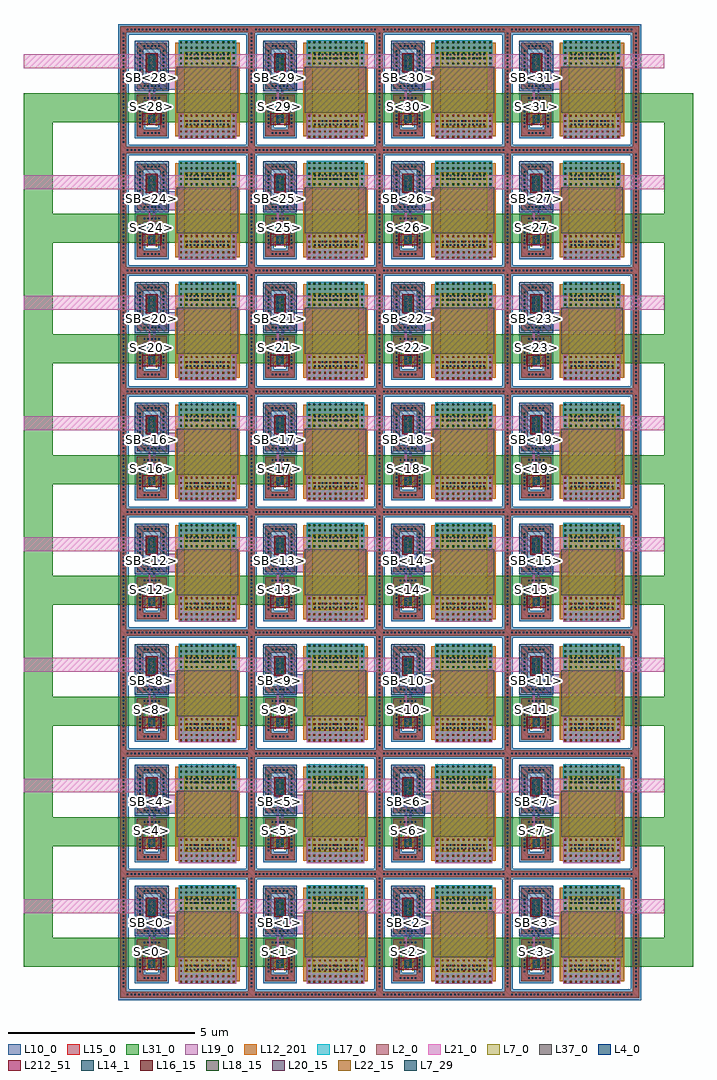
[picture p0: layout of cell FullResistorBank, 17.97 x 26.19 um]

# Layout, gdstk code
import gdstk
lib = gdstk.Library(unit=1e-6, precision=1e-09)
def R(c, l, rs):  # rectangles x0, y0, x1, y1
    for r in rs: c.add(gdstk.rectangle(r[:2], r[2:], *l))
def A(c, l, x, y, w, h, nx, ny, dx, dy):  # array of equal rectangles
    R(c, l, [(x+i*dx, y+j*dy, x+i*dx+w, y+j*dy+h) for i in range(nx) for j in range(ny)])
L2_0 = (2, 0)
L4_0 = (4, 0)
L7_0 = (7, 0)
L7_29 = (7, 29)
L10_0 = (10, 0)
L12_201 = (12, 201)
L14_1 = (14, 1)
L15_0 = (15, 0)
L16_15 = (16, 15)
L17_0 = (17, 0)
L18_15 = (18, 15)
L19_0 = (19, 0)
L20_15 = (20, 15)
L21_0 = (21, 0)
L22_15 = (22, 15)
L31_0 = (31, 0)
L37_0 = (37, 0)
L212_51 = (212, 51)

nmossubringinresistorban = lib.new_cell('NMOSSubringInResistorBank')
R(nmossubringinresistorban, L2_0, [(-0.398,-0.559,-0.228,0.559), (-0.398,-0.559,0.398,-0.389), (0.228,-0.559,0.398,0.559), (-0.398,0.389,0.398,0.559)])
A(nmossubringinresistorban, L14_1, -0.22, -0.494, 0.04, 0.04, 5, 2, 0.1, 0.948)
A(nmossubringinresistorban, L14_1, -0.333, -0.32, 0.04, 0.04, 1, 7, 0, 0.1)
A(nmossubringinresistorban, L14_1, 0.293, -0.32, 0.04, 0.04, 1, 7, 0, 0.1)
R(nmossubringinresistorban, L15_0, [(-0.398,-0.559,0.398,-0.389), (-0.398,-0.559,-0.228,0.559), (0.228,-0.559,0.398,0.559), (-0.398,0.389,0.398,0.559)])
nmossubringinresistorban.add(gdstk.FlexPath([(0.313,0.615),(0.313,-0.474),(-0.313,-0.474),(-0.313,0.474),(0.454,0.474)], 0.282, ends="flush", simple_path=True, layer=10, datatype=0))  # L10_0

pmossubringinresistorban = lib.new_cell('PMOSSubringInResistorBank')
R(pmossubringinresistorban, L2_0, [(-0.398,-0.624,-0.228,0.624), (-0.398,-0.624,0.398,-0.454), (0.228,-0.624,0.398,0.624), (-0.398,0.454,0.398,0.624)])
A(pmossubringinresistorban, L14_1, -0.22, -0.559, 0.04, 0.04, 5, 2, 0.1, 1.078)
A(pmossubringinresistorban, L14_1, -0.333, -0.42, 0.04, 0.04, 1, 9, 0, 0.1)
A(pmossubringinresistorban, L14_1, 0.293, -0.42, 0.04, 0.04, 1, 9, 0, 0.1)
R(pmossubringinresistorban, L15_0, [(-0.398,-0.624,0.398,-0.454), (-0.398,-0.624,-0.228,0.624), (0.228,-0.624,0.398,0.624), (-0.398,0.454,0.398,0.624)])
pmossubringinresistorban.add(gdstk.FlexPath([(0.313,0.68),(0.313,-0.539),(-0.313,-0.539),(-0.313,0.539),(0.454,0.539)], 0.282, ends="flush", simple_path=True, layer=4, datatype=0))  # L4_0

totalsubringinresistorba = lib.new_cell('TotalSubringInResistorBank')
R(totalsubringinresistorba, L2_0, [(-1.804,-1.704,-1.634,1.704), (-1.804,-1.704,1.804,-1.534), (1.634,-1.704,1.804,1.704), (-1.804,1.534,1.804,1.704)])
A(totalsubringinresistorba, L14_1, -1.62, -1.639, 0.04, 0.04, 33, 2, 0.1, 3.238)
A(totalsubringinresistorba, L14_1, -1.739, -1.42, 0.04, 0.04, 1, 30, 0, 0.1)
A(totalsubringinresistorba, L14_1, 1.699, -1.42, 0.04, 0.04, 1, 30, 0, 0.1)
R(totalsubringinresistorba, L15_0, [(-1.804,-1.704,1.804,-1.534), (-1.804,-1.704,-1.634,1.704), (1.634,-1.704,1.804,1.704), (-1.804,1.534,1.804,1.704)])
totalsubringinresistorba.add(gdstk.FlexPath([(1.719,1.76),(1.719,-1.619),(-1.719,-1.619),(-1.719,1.619),(1.86,1.619)], 0.282, ends="flush", simple_path=True, layer=10, datatype=0))  # L10_0

viamet12met2onnmosoutput = lib.new_cell('ViaMet12Met2OnNMOSOutputInTransmissionGate')
R(viamet12met2onnmosoutput, L15_0, [(-0.025,-0.122,0.025,0.122)])
R(viamet12met2onnmosoutput, L16_15, [(-0.025,-0.09,0.025,-0.04), (-0.025,0.04,0.025,0.09)])
R(viamet12met2onnmosoutput, L17_0, [(-0.025,-0.122,0.025,0.122)])

viamet32met4onpmosoutput = lib.new_cell('ViaMet32Met4OnPMOSOutputInTransmissionGate')
R(viamet32met4onpmosoutput, L19_0, [(-0.025,-0.187,0.025,0.187)])
A(viamet32met4onpmosoutput, L20_15, -0.025, -0.155, 0.05, 0.05, 1, 3, 0, 0.13)
R(viamet32met4onpmosoutput, L21_0, [(-0.025,-0.187,0.025,0.187)])

viamet32met4onnmosoutput = lib.new_cell('ViaMet32Met4OnNMOSOutputInTransmissionGate')
R(viamet32met4onnmosoutput, L19_0, [(-0.025,-0.122,0.025,0.122)])
R(viamet32met4onnmosoutput, L20_15, [(-0.025,-0.09,0.025,-0.04), (-0.025,0.04,0.025,0.09)])
R(viamet32met4onnmosoutput, L21_0, [(-0.025,-0.122,0.025,0.122)])

pmosintransmissiongate = lib.new_cell('PMOSInTransmissionGate')
R(pmosintransmissiongate, L2_0, [(-0.091,-0.2,0.091,0.2)])
A(pmosintransmissiongate, L7_0, -0.141, -0.256, 0.03, 0.512, 3, 1, 0.126, 0)
R(pmosintransmissiongate, L7_29, [(-0.096,-0.205,0.096,0.205)])
R(pmosintransmissiongate, L10_0, [(-0.151,-0.256,0.151,0.256)])
A(pmosintransmissiongate, L14_1, -0.083, -0.17, 0.04, 0.04, 1, 4, 0, 0.1)
A(pmosintransmissiongate, L14_1, 0.043, -0.17, 0.04, 0.04, 1, 4, 0, 0.1)
R(pmosintransmissiongate, L15_0, [(-0.088,-0.2,-0.038,0.2), (0.038,-0.2,0.088,0.2)])
R(pmosintransmissiongate, L212_51, [(-0.147,-0.256,0.147,0.256)])

viamet22met3onnmosoutput = lib.new_cell('ViaMet22Met3OnNMOSOutputInTransmissionGate')
R(viamet22met3onnmosoutput, L17_0, [(-0.025,-0.122,0.025,0.122)])
R(viamet22met3onnmosoutput, L18_15, [(-0.025,-0.09,0.025,-0.04), (-0.025,0.04,0.025,0.09)])
R(viamet22met3onnmosoutput, L19_0, [(-0.025,-0.122,0.025,0.122)])

viapoly2met1onnmoscontro = lib.new_cell('ViaPoly2Met1OnNMOSControlInTransmissionGate')
R(viapoly2met1onnmoscontro, L7_0, [(-0.08,-0.03,0.08,0.03)])
R(viapoly2met1onnmoscontro, L14_1, [(-0.07,-0.02,-0.03,0.02), (0.03,-0.02,0.07,0.02)])
R(viapoly2met1onnmoscontro, L15_0, [(-0.091,-0.041,0.091,0.041)])

viamet12met2onnmoscontro = lib.new_cell('ViaMet12Met2OnNMOSControlInTransmissionGate')
R(viamet12met2onnmoscontro, L15_0, [(-0.122,-0.025,0.122,0.025)])
R(viamet12met2onnmoscontro, L16_15, [(-0.09,-0.025,-0.04,0.025), (0.04,-0.025,0.09,0.025)])
R(viamet12met2onnmoscontro, L17_0, [(-0.122,-0.025,0.122,0.025)])

viamet12met2onpmosoutput = lib.new_cell('ViaMet12Met2OnPMOSOutputInTransmissionGate')
R(viamet12met2onpmosoutput, L15_0, [(-0.025,-0.187,0.025,0.187)])
A(viamet12met2onpmosoutput, L16_15, -0.025, -0.155, 0.05, 0.05, 1, 3, 0, 0.13)
R(viamet12met2onpmosoutput, L17_0, [(-0.025,-0.187,0.025,0.187)])

viamet12met2onpmoscontro = lib.new_cell('ViaMet12Met2OnPMOSControlInTransmissionGate')
R(viamet12met2onpmoscontro, L15_0, [(-0.122,-0.025,0.122,0.025)])
R(viamet12met2onpmoscontro, L16_15, [(-0.09,-0.025,-0.04,0.025), (0.04,-0.025,0.09,0.025)])
R(viamet12met2onpmoscontro, L17_0, [(-0.122,-0.025,0.122,0.025)])

viapoly2met1onpmoscontro = lib.new_cell('ViaPoly2Met1OnPMOSControlInTransmissionGate')
R(viapoly2met1onpmoscontro, L7_0, [(-0.08,-0.03,0.08,0.03)])
R(viapoly2met1onpmoscontro, L14_1, [(-0.07,-0.02,-0.03,0.02), (0.03,-0.02,0.07,0.02)])
R(viapoly2met1onpmoscontro, L15_0, [(-0.091,-0.041,0.091,0.041)])

viamet22met3onpmosoutput = lib.new_cell('ViaMet22Met3OnPMOSOutputInTransmissionGate')
R(viamet22met3onpmosoutput, L17_0, [(-0.025,-0.187,0.025,0.187)])
A(viamet22met3onpmosoutput, L18_15, -0.025, -0.155, 0.05, 0.05, 1, 3, 0, 0.13)
R(viamet22met3onpmosoutput, L19_0, [(-0.025,-0.187,0.025,0.187)])

nmosintransmissiongate = lib.new_cell('NMOSInTransmissionGate')
R(nmosintransmissiongate, L2_0, [(-0.091,-0.1,0.091,0.1)])
R(nmosintransmissiongate, L7_0, [(-0.141,-0.184,-0.111,0.184), (0.111,-0.184,0.141,0.184), (-0.015,-0.156,0.015,0.156)])
R(nmosintransmissiongate, L7_29, [(-0.096,-0.105,0.096,0.105)])
R(nmosintransmissiongate, L14_1, [(-0.083,-0.07,-0.043,-0.03), (0.043,-0.07,0.083,-0.03), (-0.083,0.03,-0.043,0.07), (0.043,0.03,0.083,0.07)])
R(nmosintransmissiongate, L15_0, [(-0.088,-0.1,-0.038,0.1), (0.038,-0.1,0.088,0.1)])
R(nmosintransmissiongate, L212_51, [(-0.147,-0.156,0.147,0.156)])

transmissiongateinresist = lib.new_cell('TransmissionGateInResistorBank')
transmissiongateinresist.add(gdstk.FlexPath([(0.038,0.558),(0.088,0.558)], 0.05, ends="flush", simple_path=True, layer=19, datatype=0))  # L19_0
transmissiongateinresist.add(gdstk.FlexPath([(0,0.379),(0,0.744)], 0.03, ends="flush", simple_path=True, layer=7, datatype=0))  # L7_0
transmissiongateinresist.add(gdstk.FlexPath([(-0.063,1.892),(-0.063,0.379)], 0.05, ends="flush", simple_path=True, layer=21, datatype=0))  # L21_0
transmissiongateinresist.add(gdstk.FlexPath([(-0.122,1.492),(0.122,1.492)], 0.082, ends="flush", simple_path=True, layer=15, datatype=0))  # L15_0
transmissiongateinresist.add(gdstk.FlexPath([(0.063,1.892),(0.063,0.379)], 0.05, ends="flush", simple_path=True, layer=19, datatype=0))  # L19_0
transmissiongateinresist.add(gdstk.FlexPath([(-0.122,0.714),(0.122,0.714)], 0.082, ends="flush", simple_path=True, layer=15, datatype=0))  # L15_0
transmissiongateinresist.add(gdstk.FlexPath([(0,1.892),(0,1.462)], 0.03, ends="flush", simple_path=True, layer=7, datatype=0))  # L7_0
transmissiongateinresist.add(gdstk.FlexPath([(0.038,1.648),(0.088,1.648)], 0.05, ends="flush", simple_path=True, layer=19, datatype=0))  # L19_0
transmissiongateinresist.add(gdstk.Reference(viamet12met2onnmosoutput, (0.063,0.411)))
transmissiongateinresist.add(gdstk.Reference(viamet12met2onnmosoutput, (-0.063,0.347)))
transmissiongateinresist.add(gdstk.Reference(viamet32met4onpmosoutput, (-0.063,1.924)))
transmissiongateinresist.add(gdstk.Reference(viamet32met4onnmosoutput, (-0.063,0.347)))
transmissiongateinresist.add(gdstk.Reference(pmosintransmissiongate, (0,1.892)))
transmissiongateinresist.add(gdstk.Reference(viamet22met3onnmosoutput, (0.063,0.411)))
transmissiongateinresist.add(gdstk.Reference(viamet22met3onnmosoutput, (-0.063,0.347)))
transmissiongateinresist.add(gdstk.Reference(viapoly2met1onnmoscontro, (0,0.714)))
transmissiongateinresist.add(gdstk.Reference(viamet12met2onnmoscontro, (0,0.714)))
transmissiongateinresist.add(gdstk.Reference(viamet12met2onpmosoutput, (0.063,1.86)))
transmissiongateinresist.add(gdstk.Reference(viamet12met2onpmosoutput, (-0.063,1.924)))
transmissiongateinresist.add(gdstk.Reference(viamet12met2onpmoscontro, (0,1.492)))
transmissiongateinresist.add(gdstk.Reference(viapoly2met1onpmoscontro, (0,1.492)))
transmissiongateinresist.add(gdstk.Reference(viamet22met3onpmosoutput, (0.063,1.86)))
transmissiongateinresist.add(gdstk.Reference(viamet22met3onpmosoutput, (-0.063,1.924)))
transmissiongateinresist.add(gdstk.Reference(nmosintransmissiongate, (0,0.379)))

opppcresinresistorbank = lib.new_cell('OpppcresInResistorBank')
R(opppcresinresistorbank, L7_0, [(-0.625,-1.017,0.625,1.017)])
R(opppcresinresistorbank, L10_0, [(-0.865,-1.257,0.865,1.257)])
R(opppcresinresistorbank, L12_201, [(-0.865,-1.257,0.865,1.257)])
A(opppcresinresistorbank, L14_1, -0.57, -0.957, 0.04, 0.04, 12, 2, 0.1, 0.1)
A(opppcresinresistorbank, L14_1, -0.57, 0.817, 0.04, 0.04, 12, 2, 0.1, 0.1)
R(opppcresinresistorbank, L15_0, [(-0.582,-0.969,0.582,-0.805), (-0.582,0.805,0.582,0.969)])
R(opppcresinresistorbank, L37_0, [(-0.825,-0.617,0.825,0.617)])

viamet12met2onresistorin = lib.new_cell('ViaMet12Met2OnResistorInResistorBank')
R(viamet12met2onresistorin, L15_0, [(-0.767,-0.341,0.767,0.341)])
A(viamet12met2onresistorin, L16_15, -0.735, -0.309, 0.05, 0.05, 11, 5, 0.142, 0.142)
R(viamet12met2onresistorin, L17_0, [(-0.767,-0.341,0.767,0.341)])

viamet32met4onresistorin = lib.new_cell('ViaMet32Met4OnResistorInResistorBank')
R(viamet32met4onresistorin, L19_0, [(-0.767,-0.341,0.767,0.341)])
A(viamet32met4onresistorin, L20_15, -0.735, -0.309, 0.05, 0.05, 11, 5, 0.142, 0.142)
R(viamet32met4onresistorin, L21_0, [(-0.767,-0.341,0.767,0.341)])

viamet42met5onresistorin = lib.new_cell('ViaMet42Met5OnResistorInResistorBank')
R(viamet42met5onresistorin, L21_0, [(-0.767,-0.341,0.767,0.341)])
A(viamet42met5onresistorin, L22_15, -0.735, -0.309, 0.05, 0.05, 11, 5, 0.142, 0.142)
R(viamet42met5onresistorin, L31_0, [(-0.767,-0.341,0.767,0.341)])

viamet22met3onresistorin = lib.new_cell('ViaMet22Met3OnResistorInResistorBank')
R(viamet22met3onresistorin, L17_0, [(-0.767,-0.341,0.767,0.341)])
A(viamet22met3onresistorin, L18_15, -0.735, -0.309, 0.05, 0.05, 11, 5, 0.142, 0.142)
R(viamet22met3onresistorin, L19_0, [(-0.767,-0.341,0.767,0.341)])

resistorbankinfullresist = lib.new_cell('ResistorBankInFullResistorBank')
resistorbankinfullresist.add(gdstk.FlexPath([(1.493,0.184),(1.493,0.684)], 1.534, ends="flush", simple_path=True, layer=31, datatype=0))  # L31_0
resistorbankinfullresist.add(gdstk.FlexPath([(1.493,2.15),(1.493,1.419)], 1.534, ends="flush", simple_path=True, layer=19, datatype=0))  # L19_0
resistorbankinfullresist.add(gdstk.FlexPath([(-0.258,0.379),(0.258,0.379)], 0.312, ends="flush", simple_path=True, layer=212, datatype=51))  # L212_51
resistorbankinfullresist.add(gdstk.FlexPath([(-0.228,1.797),(0.228,1.797)], 0.908, ends="flush", simple_path=True, layer=4, datatype=0))  # L4_0
resistorbankinfullresist.add(gdstk.FlexPath([(1.493,2.15),(1.493,1.972)], 1.534, ends="flush", simple_path=True, layer=15, datatype=0))  # L15_0
resistorbankinfullresist.add(gdstk.FlexPath([(1.493,0.184),(1.493,0.362)], 1.534, ends="flush", simple_path=True, layer=15, datatype=0))  # L15_0
resistorbankinfullresist.add(gdstk.FlexPath([(0.063,1.419),(2.26,1.419)], 0.504, ends="flush", simple_path=True, layer=19, datatype=0))  # L19_0
resistorbankinfullresist.add(gdstk.FlexPath([(-0.158,1.892),(0.158,1.892)], 0.512, ends="flush", simple_path=True, layer=212, datatype=51))  # L212_51
resistorbankinfullresist.add(gdstk.Reference(nmossubringinresistorban, (0,0.474)))
resistorbankinfullresist.add(gdstk.Reference(pmossubringinresistorban, (0,1.797)))
resistorbankinfullresist.add(gdstk.Reference(totalsubringinresistorba, (0.954,1.167)))
resistorbankinfullresist.add(gdstk.Reference(transmissiongateinresist, (0,0)))
resistorbankinfullresist.add(gdstk.Reference(opppcresinresistorbank, (1.493,1.167)))
resistorbankinfullresist.add(gdstk.Reference(viamet12met2onresistorin, (1.493,0.184)))
resistorbankinfullresist.add(gdstk.Reference(viamet12met2onresistorin, (1.493,2.15)))
resistorbankinfullresist.add(gdstk.Reference(viamet32met4onresistorin, (1.493,0.184)))
resistorbankinfullresist.add(gdstk.Reference(viamet42met5onresistorin, (1.493,0.184)))
resistorbankinfullresist.add(gdstk.Reference(viamet22met3onresistorin, (1.493,0.184)))
resistorbankinfullresist.add(gdstk.Reference(viamet22met3onresistorin, (1.493,2.15)))

fullresistorbank = lib.new_cell('FullResistorBank')
fullresistorbank.add(gdstk.FlexPath([(-3.438,0.684),(14.53,0.684)], 0.778, ends="flush", simple_path=True, layer=31, datatype=0))  # L31_0
fullresistorbank.add(gdstk.FlexPath([(-3.438,3.922),(14.53,3.922)], 0.778, ends="flush", simple_path=True, layer=31, datatype=0))  # L31_0
fullresistorbank.add(gdstk.FlexPath([(-3.438,7.16),(14.53,7.16)], 0.778, ends="flush", simple_path=True, layer=31, datatype=0))  # L31_0
fullresistorbank.add(gdstk.FlexPath([(-3.438,10.398),(14.53,10.398)], 0.778, ends="flush", simple_path=True, layer=31, datatype=0))  # L31_0
fullresistorbank.add(gdstk.FlexPath([(-3.438,13.636),(14.53,13.636)], 0.778, ends="flush", simple_path=True, layer=31, datatype=0))  # L31_0
fullresistorbank.add(gdstk.FlexPath([(-3.438,16.874),(14.53,16.874)], 0.778, ends="flush", simple_path=True, layer=31, datatype=0))  # L31_0
fullresistorbank.add(gdstk.FlexPath([(-3.438,20.112),(14.53,20.112)], 0.778, ends="flush", simple_path=True, layer=31, datatype=0))  # L31_0
fullresistorbank.add(gdstk.FlexPath([(-3.438,23.35),(14.53,23.35)], 0.778, ends="flush", simple_path=True, layer=31, datatype=0))  # L31_0
fullresistorbank.add(gdstk.FlexPath([(-3.049,23.35),(-3.049,0.684)], 0.778, ends="flush", simple_path=True, layer=31, datatype=0))  # L31_0
fullresistorbank.add(gdstk.FlexPath([(14.141,23.35),(14.141,0.684)], 0.778, ends="flush", simple_path=True, layer=31, datatype=0))  # L31_0
fullresistorbank.add(gdstk.FlexPath([(-3.438,1.924),(13.752,1.924)], 0.374, ends="flush", simple_path=True, layer=21, datatype=0))  # L21_0
fullresistorbank.add(gdstk.FlexPath([(-3.438,5.162),(13.752,5.162)], 0.374, ends="flush", simple_path=True, layer=21, datatype=0))  # L21_0
fullresistorbank.add(gdstk.FlexPath([(-3.438,8.4),(13.752,8.4)], 0.374, ends="flush", simple_path=True, layer=21, datatype=0))  # L21_0
fullresistorbank.add(gdstk.FlexPath([(-3.438,11.638),(13.752,11.638)], 0.374, ends="flush", simple_path=True, layer=21, datatype=0))  # L21_0
fullresistorbank.add(gdstk.FlexPath([(-3.438,14.876),(13.752,14.876)], 0.374, ends="flush", simple_path=True, layer=21, datatype=0))  # L21_0
fullresistorbank.add(gdstk.FlexPath([(-3.438,18.114),(13.752,18.114)], 0.374, ends="flush", simple_path=True, layer=21, datatype=0))  # L21_0
fullresistorbank.add(gdstk.FlexPath([(-3.438,21.352),(13.752,21.352)], 0.374, ends="flush", simple_path=True, layer=21, datatype=0))  # L21_0
fullresistorbank.add(gdstk.FlexPath([(-3.438,24.59),(13.752,24.59)], 0.374, ends="flush", simple_path=True, layer=21, datatype=0))  # L21_0
fullresistorbank.add(gdstk.Reference(resistorbankinfullresist, (0,0)))
fullresistorbank.add(gdstk.Reference(resistorbankinfullresist, (0,3.238)))
fullresistorbank.add(gdstk.Reference(resistorbankinfullresist, (0,6.476)))
fullresistorbank.add(gdstk.Reference(resistorbankinfullresist, (0,9.714)))
fullresistorbank.add(gdstk.Reference(resistorbankinfullresist, (0,12.952)))
fullresistorbank.add(gdstk.Reference(resistorbankinfullresist, (0,16.19)))
fullresistorbank.add(gdstk.Reference(resistorbankinfullresist, (0,19.428)))
fullresistorbank.add(gdstk.Reference(resistorbankinfullresist, (0,22.666)))
fullresistorbank.add(gdstk.Reference(resistorbankinfullresist, (3.438,0)))
fullresistorbank.add(gdstk.Reference(resistorbankinfullresist, (3.438,3.238)))
fullresistorbank.add(gdstk.Reference(resistorbankinfullresist, (3.438,6.476)))
fullresistorbank.add(gdstk.Reference(resistorbankinfullresist, (3.438,9.714)))
fullresistorbank.add(gdstk.Reference(resistorbankinfullresist, (3.438,12.952)))
fullresistorbank.add(gdstk.Reference(resistorbankinfullresist, (3.438,16.19)))
fullresistorbank.add(gdstk.Reference(resistorbankinfullresist, (3.438,19.428)))
fullresistorbank.add(gdstk.Reference(resistorbankinfullresist, (3.438,22.666)))
fullresistorbank.add(gdstk.Reference(resistorbankinfullresist, (6.876,0)))
fullresistorbank.add(gdstk.Reference(resistorbankinfullresist, (6.876,3.238)))
fullresistorbank.add(gdstk.Reference(resistorbankinfullresist, (6.876,6.476)))
fullresistorbank.add(gdstk.Reference(resistorbankinfullresist, (6.876,9.714)))
fullresistorbank.add(gdstk.Reference(resistorbankinfullresist, (6.876,12.952)))
fullresistorbank.add(gdstk.Reference(resistorbankinfullresist, (6.876,16.19)))
fullresistorbank.add(gdstk.Reference(resistorbankinfullresist, (6.876,19.428)))
fullresistorbank.add(gdstk.Reference(resistorbankinfullresist, (6.876,22.666)))
fullresistorbank.add(gdstk.Reference(resistorbankinfullresist, (10.314,0)))
fullresistorbank.add(gdstk.Reference(resistorbankinfullresist, (10.314,3.238)))
fullresistorbank.add(gdstk.Reference(resistorbankinfullresist, (10.314,6.476)))
fullresistorbank.add(gdstk.Reference(resistorbankinfullresist, (10.314,9.714)))
fullresistorbank.add(gdstk.Reference(resistorbankinfullresist, (10.314,12.952)))
fullresistorbank.add(gdstk.Reference(resistorbankinfullresist, (10.314,16.19)))
fullresistorbank.add(gdstk.Reference(resistorbankinfullresist, (10.314,19.428)))
fullresistorbank.add(gdstk.Reference(resistorbankinfullresist, (10.314,22.666)))
fullresistorbank.add(gdstk.Label('S<7>', (10.314,3.952), layer=17, texttype=20))
fullresistorbank.add(gdstk.Label('SB<24>', (0,20.92), layer=17, texttype=20))
fullresistorbank.add(gdstk.Label('S<30>', (6.876,23.38), layer=17, texttype=20))
fullresistorbank.add(gdstk.Label('SB<7>', (10.314,4.73), layer=17, texttype=20))
fullresistorbank.add(gdstk.Label('SB<28>', (0,24.158), layer=17, texttype=20))
fullresistorbank.add(gdstk.Label('S<11>', (10.314,7.19), layer=17, texttype=20))
fullresistorbank.add(gdstk.Label('S<12>', (0,10.428), layer=17, texttype=20))
fullresistorbank.add(gdstk.Label('SB<15>', (10.314,11.206), layer=17, texttype=20))
fullresistorbank.add(gdstk.Label('S<26>', (6.876,20.142), layer=17, texttype=20))
fullresistorbank.add(gdstk.Label('S<14>', (6.876,10.428), layer=17, texttype=20))
fullresistorbank.add(gdstk.Label('S<18>', (6.876,13.666), layer=17, texttype=20))
fullresistorbank.add(gdstk.Label('S<24>', (0,20.142), layer=17, texttype=20))
fullresistorbank.add(gdstk.Label('S<29>', (3.438,23.38), layer=17, texttype=20))
fullresistorbank.add(gdstk.Label('S<9>', (3.438,7.19), layer=17, texttype=20))
fullresistorbank.add(gdstk.Label('S<8>', (0,7.19), layer=17, texttype=20))
fullresistorbank.add(gdstk.Label('S<17>', (3.438,13.666), layer=17, texttype=20))
fullresistorbank.add(gdstk.Label('SB<3>', (10.314,1.492), layer=17, texttype=20))
fullresistorbank.add(gdstk.Label('S<19>', (10.314,13.666), layer=17, texttype=20))
fullresistorbank.add(gdstk.Label('SB<12>', (0,11.206), layer=17, texttype=20))
fullresistorbank.add(gdstk.Label('SB<8>', (0,7.968), layer=17, texttype=20))
fullresistorbank.add(gdstk.Label('S<2>', (6.876,0.714), layer=17, texttype=20))
fullresistorbank.add(gdstk.Label('SB<5>', (3.438,4.73), layer=17, texttype=20))
fullresistorbank.add(gdstk.Label('SB<27>', (10.314,20.92), layer=17, texttype=20))
fullresistorbank.add(gdstk.Label('SB<20>', (0,17.682), layer=17, texttype=20))
fullresistorbank.add(gdstk.Label('SB<25>', (3.438,20.92), layer=17, texttype=20))
fullresistorbank.add(gdstk.Label('S<21>', (3.438,16.904), layer=17, texttype=20))
fullresistorbank.add(gdstk.Label('S<0>', (0,0.714), layer=17, texttype=20))
fullresistorbank.add(gdstk.Label('SB<26>', (6.876,20.92), layer=17, texttype=20))
fullresistorbank.add(gdstk.Label('SB<23>', (10.314,17.682), layer=17, texttype=20))
fullresistorbank.add(gdstk.Label('SB<10>', (6.876,7.968), layer=17, texttype=20))
fullresistorbank.add(gdstk.Label('SB<17>', (3.438,14.444), layer=17, texttype=20))
fullresistorbank.add(gdstk.Label('S<3>', (10.314,0.714), layer=17, texttype=20))
fullresistorbank.add(gdstk.Label('SB<19>', (10.314,14.444), layer=17, texttype=20))
fullresistorbank.add(gdstk.Label('S<23>', (10.314,16.904), layer=17, texttype=20))
fullresistorbank.add(gdstk.Label('S<25>', (3.438,20.142), layer=17, texttype=20))
fullresistorbank.add(gdstk.Label('S<28>', (0,23.38), layer=17, texttype=20))
fullresistorbank.add(gdstk.Label('S<27>', (10.314,20.142), layer=17, texttype=20))
fullresistorbank.add(gdstk.Label('S<13>', (3.438,10.428), layer=17, texttype=20))
fullresistorbank.add(gdstk.Label('SB<0>', (0,1.492), layer=17, texttype=20))
fullresistorbank.add(gdstk.Label('SB<16>', (0,14.444), layer=17, texttype=20))
fullresistorbank.add(gdstk.Label('S<16>', (0,13.666), layer=17, texttype=20))
fullresistorbank.add(gdstk.Label('SB<31>', (10.314,24.158), layer=17, texttype=20))
fullresistorbank.add(gdstk.Label('S<1>', (3.438,0.714), layer=17, texttype=20))
fullresistorbank.add(gdstk.Label('SB<9>', (3.438,7.968), layer=17, texttype=20))
fullresistorbank.add(gdstk.Label('S<31>', (10.314,23.38), layer=17, texttype=20))
fullresistorbank.add(gdstk.Label('SB<4>', (0,4.73), layer=17, texttype=20))
fullresistorbank.add(gdstk.Label('S<10>', (6.876,7.19), layer=17, texttype=20))
fullresistorbank.add(gdstk.Label('SB<6>', (6.876,4.73), layer=17, texttype=20))
fullresistorbank.add(gdstk.Label('SB<1>', (3.438,1.492), layer=17, texttype=20))
fullresistorbank.add(gdstk.Label('S<20>', (0,16.904), layer=17, texttype=20))
fullresistorbank.add(gdstk.Label('S<22>', (6.876,16.904), layer=17, texttype=20))
fullresistorbank.add(gdstk.Label('SB<14>', (6.876,11.206), layer=17, texttype=20))
fullresistorbank.add(gdstk.Label('SB<29>', (3.438,24.158), layer=17, texttype=20))
fullresistorbank.add(gdstk.Label('S<6>', (6.876,3.952), layer=17, texttype=20))
fullresistorbank.add(gdstk.Label('S<4>', (0,3.952), layer=17, texttype=20))
fullresistorbank.add(gdstk.Label('SB<30>', (6.876,24.158), layer=17, texttype=20))
fullresistorbank.add(gdstk.Label('SB<21>', (3.438,17.682), layer=17, texttype=20))
fullresistorbank.add(gdstk.Label('SB<2>', (6.876,1.492), layer=17, texttype=20))
fullresistorbank.add(gdstk.Label('SB<18>', (6.876,14.444), layer=17, texttype=20))
fullresistorbank.add(gdstk.Label('SB<13>', (3.438,11.206), layer=17, texttype=20))
fullresistorbank.add(gdstk.Label('SB<22>', (6.876,17.682), layer=17, texttype=20))
fullresistorbank.add(gdstk.Label('S<5>', (3.438,3.952), layer=17, texttype=20))
fullresistorbank.add(gdstk.Label('SB<11>', (10.314,7.968), layer=17, texttype=20))
fullresistorbank.add(gdstk.Label('S<15>', (10.314,10.428), layer=17, texttype=20))

lib.write_gds('FullResistorBank.gds')
